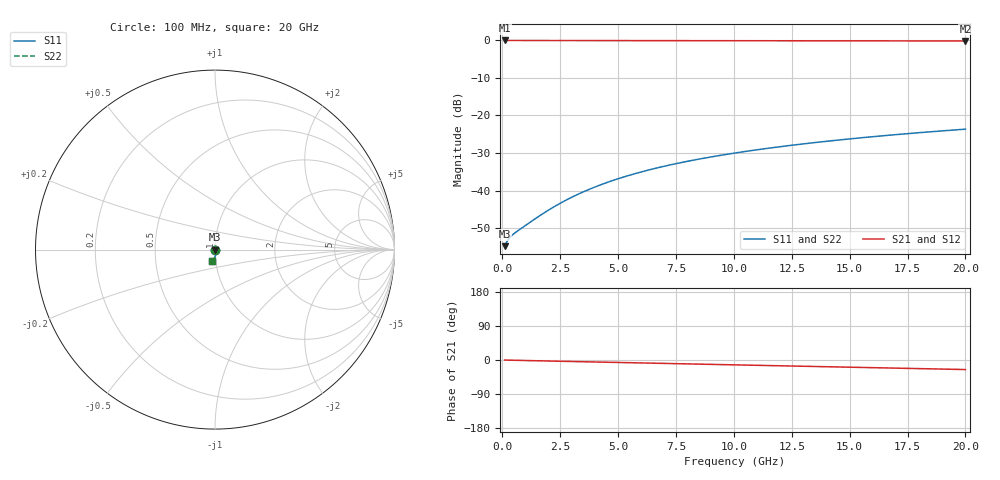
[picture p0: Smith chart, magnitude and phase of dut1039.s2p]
! Touchstone file exported from HFSS 2026.1.0
!  File:  C:/ffzhzh/LocalFiles/Ansys_Project_Files/temp_train_BSMRDL_1039_1783173740_51560.aedt
!  Generated:  10:03:29 PM Jul  4, 2026
!  Design:  BSMRDL
!  Project:  temp_train_BSMRDL_1039_1783173740_51560
! Variables:
!  h_bsmrdl = 5.88um
!  h_ox = 20um
!  h_rdl = 5um
!  h_sub = 80um
!  h_tmrdl = 5um
!  h_tsv = 80um
!  h_via = 3um
!  l_bsmrdl = 452.79um
!  l_sub = 852.79um
!  l_tmrdl = 200um
!  m_sub = 200um
!  pitch = 20.64um
!  r_tsv = 6um
!  s_tmrdl = 10um
!  w_bsmrdl = 17.12um
!  w_sub = 500um
!  w_tmrdl = 12um
!  x_tsv_center1 = 206um
!  x_tsv_center2 = 675.91um
!  x_tsv_center3 = 887.91um
!  x_tsv_center4 = 1357.82um
!  x_tsv_center5 = 1569.82um
!  x_tsv_center6 = 2039.73um
# GHz S MA R 50.000000
! Terminal data exported
! Port[1] = BSM_RDL1_1_T1
! Port[2] = BSM_RDL1_1_T2
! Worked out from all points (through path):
!   200 points, 100 MHz to 20 GHz, reference 50 ohm
!   highest |S21| = -0.02 dB at 100 MHz (marker M1); lowest = -0.2 dB at 20 GHz (marker M2)
!   group delay of S21, straight-line fit = 3.48 ps
!   lowest |S11| = -54.8 dB at 100 MHz (marker M3), VSWR 1.00, Z = 50.2 + j0.0179 ohm
!   |S11| at or under -10 dB: start of sweep to end of sweep
!   |S22| runs from -54.8 to -23.6 dB; largest |S21 - S12| = 8.1e-15
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0.1  0.001817 5.6  0.9982 -0.2  0.9982 -0.2  0.001817 5.6
! Gamma 0 0 0 0
! Port Impedance 50 0 50 0
0.2  0.002088 4.3  0.9979 -0.3  0.9979 -0.3  0.002088 4.3
0.3  0.002322 -0.4  0.9977 -0.4  0.9977 -0.4  0.002322 -0.4
0.4  0.002505 -5.8  0.9975 -0.6  0.9975 -0.6  0.002506 -5.8
0.6  0.002809 -15.5  0.9973 -0.8  0.9973 -0.8  0.00281 -15.5
1.2  0.003784 -35.4  0.9968 -1.6  0.9968 -1.6  0.003786 -35.3
1.8  0.005032 -46.4  0.9964 -2.4  0.9964 -2.4  0.005035 -46.4
2.3  0.006246 -52.4  0.9959 -3.1  0.9959 -3.1  0.00625 -52.3
2.9  0.007863 -57.5  0.9953 -3.8  0.9953 -3.8  0.007868 -57.4
3.5  0.009613 -61.4  0.9947 -4.6  0.9947 -4.6  0.00962 -61.4
4.2  0.01178 -65.2  0.994 -5.5  0.994 -5.5  0.01179 -65.1
5  0.01437 -68.8  0.9932 -6.5  0.9932 -6.5  0.01438 -68.7
5.9  0.01737 -72.3  0.9924 -7.7  0.9924 -7.7  0.01738 -72.3
6.8  0.02042 -75.4  0.9917 -8.8  0.9917 -8.8  0.02044 -75.3
7.5  0.02282 -77.6  0.9911 -9.7  0.9911 -9.7  0.02284 -77.5
8.3  0.02558 -79.9  0.9905 -10.7  0.9905 -10.7  0.0256 -79.7
10.1  0.03181 -84.4  0.9893 -12.9  0.9893 -12.9  0.03184 -84.2
11.7  0.03735 -87.9  0.9882 -14.9  0.9882 -14.9  0.03739 -87.7
13.4  0.04324 -91.3  0.9871 -17.0  0.9871 -17.0  0.04328 -91.1
15  0.04876 -94.3  0.9861 -19.0  0.9861 -19.0  0.04881 -94.1
16.7  0.05458 -97.2  0.985 -21.1  0.985 -21.1  0.05464 -97.0
20  0.06572 -102.6  0.9828 -25.2  0.9828 -25.2  0.0658 -102.4
